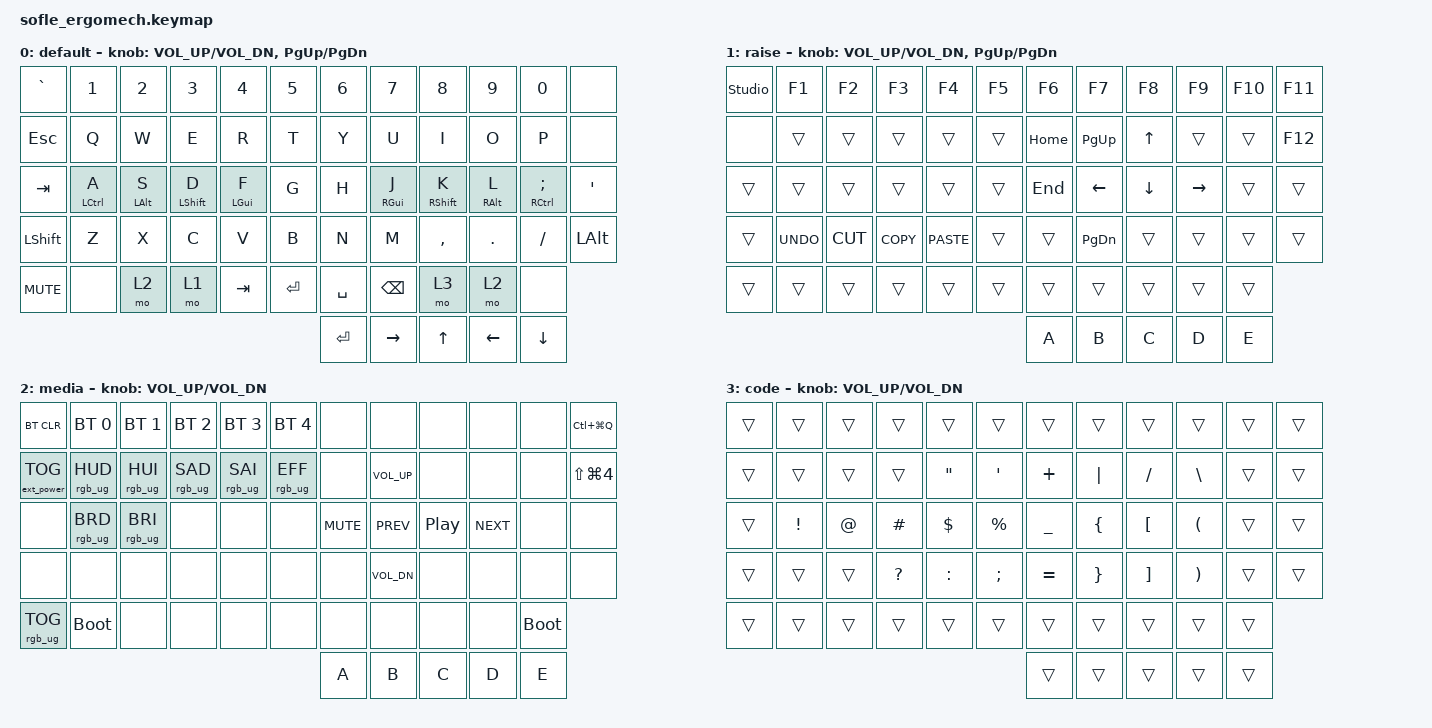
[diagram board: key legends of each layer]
/*
 * Copyright (c) 2020 The ZMK Contributors
 *
 * SPDX-License-Identifier: MIT
 */

#include <behaviors.dtsi>
#include <dt-bindings/zmk/bt.h>
#include <dt-bindings/zmk/ext_power.h>
#include <dt-bindings/zmk/keys.h>
#include <dt-bindings/zmk/rgb.h>

#define BASE 0
#define LOWER 1
#define RAISE 2
#define ADJUST 3

/ {
    // Activate ADJUST layer by pressing raise and lower

    conditional_layers {
        compatible = "zmk,conditional-layers";

        raise_layer {
            if-layers = <1 1>;
            then-layer = <1>;
        };

        media_layer {
            if-layers = <2>;
            then-layer = <2>;
        };

        code_layer {
            if-layers = <3>;
            then-layer = <3>;
        };
    };

    keymap {
        compatible = "zmk,keymap";

        default_layer {
            label = "default";

            // ------------------------------------------------------------------------------------------------------------
            // |   `   |  1  |  2  |  3   |  4   |  5   |                   |  6   |  7    |  8    |  9   |   0   |       |
            // |  ESC  |  Q  |  W  |  E   |  R   |  T   |                   |  Y   |  U    |  I    |  O   |   P   | BKSPC |
            // |  TAB  |  A  |  S  |  D   |  F   |  G   |                   |  H   |  J    |  K    |  L   |   ;   |   '   |
            // | SHIFT |  Z  |  X  |  C   |  V   |  B   |  MUTE  |  |       |  N   |  M    |  ,    |  .   |   /   | SHIFT |
            //               | GUI | ALT  | CTRL | LOWER|  ENTER |  | SPACE | RAISE| CTRL  | ALT   | GUI  |

            bindings = <
&kp GRAVE       &kp N1              &kp N2          &kp N3            &kp N4          &kp N5     &kp N6     &kp N7           &kp N8             &kp N9           &kp N0                  &none
&kp ESC         &kp Q               &kp W           &kp E             &kp R           &kp T      &kp Y      &kp U            &kp I              &kp O            &kp P                   &none
&kp TAB         &mt LEFT_CONTROL A  &mt LEFT_ALT S  &mt LEFT_SHIFT D  &mt LEFT_GUI F  &kp G      &kp H      &mt RIGHT_GUI J  &mt RIGHT_SHIFT K  &mt RIGHT_ALT L  &mt RIGHT_CONTROL SEMI  &kp SQT
&kp LEFT_SHIFT  &kp Z               &kp X           &kp C             &kp V           &kp B      &kp N      &kp M            &kp COMMA          &kp DOT          &kp FSLH                &kp LEFT_ALT
&kp C_MUTE      &none               &mo 2           &mo 1             &kp TAB         &kp ENTER  &kp SPACE  &kp BACKSPACE    &mo 3              &mo 2            &none
                                                                                                 &kp ENTER  &kp RIGHT        &kp UP_ARROW       &kp LEFT         &kp DOWN
            >;

            sensor-bindings = <&inc_dec_kp C_VOL_UP C_VOL_DN &inc_dec_kp PG_UP PG_DN>;
        };

        raise_layer {
            label = "raise";

            // ------------------------------------------------------------------------------------------------------------
            // | BTCLR | BT1  | BT2  |  BT3  |  BT4  |  BT5 |                |      |      |       |      |       |       |
            // |       | INS  | PSCR | GUI   |       |      |                | PGUP |      |   ^   |      |       |       |
            // |       | ALT  | CTRL | SHIFT |       | CAPS |                | PGDN |   <- |   v   |  ->  |  DEL  | BKSPC |
            // |       | UNDO | CUT  | COPY  | PASTE |      |      |  |      |      |      |       |      |       |       |
            //                |      |       |       |      |      |  |      |      |      |       |      |

            bindings = <
&studio_unlock  &kp F1      &kp F2     &kp F3      &kp F4       &kp F5  &kp F6    &kp F7         &kp F8    &kp F9     &kp F10  &kp F11
&none           &trans      &trans     &trans      &trans       &trans  &kp HOME  &kp PAGE_UP    &kp UP    &trans     &trans   &kp F12
&trans          &trans      &trans     &trans      &trans       &trans  &kp END   &kp LEFT       &kp DOWN  &kp RIGHT  &trans   &trans
&trans          &kp K_UNDO  &kp K_CUT  &kp K_COPY  &kp K_PASTE  &trans  &trans    &kp PAGE_DOWN  &trans    &trans     &trans   &trans
&trans          &trans      &trans     &trans      &trans       &trans  &trans    &trans         &trans    &trans     &trans
                                                                        &kp A     &kp B          &kp C     &kp D      &kp E
            >;

            sensor-bindings = <&inc_dec_kp C_VOL_UP C_VOL_DN &inc_dec_kp PG_UP PG_DN>;
        };

        media {
            // ----------------------------------------------------------------------------------------------------------------------------
            // | BTCLR  |  BT1    |  BT2    |   BT3   |   BT4   |   BT5   |                  |      |      |       |      |       |       |
            // | EXTPWR | RGB_HUD | RGB_HUI | RGB_SAD | RGB_SAI | RGB_EFF |                  |      |      |       |      |       |       |
            // |        | RGB_BRD | RGB_BRI |         |         |         |                  |      |      |       |      |       |       |
            // |        |         |         |         |         |         | RGB_TOG | |      |      |      |       |      |       |       |
            //                    |         |         |         |         |         | |      |      |      |       |      |

            label = "media";
            bindings = <
&bt BT_CLR         &bt BT_SEL 0     &bt BT_SEL 1     &bt BT_SEL 2     &bt BT_SEL 3     &bt BT_SEL 4     &none       &none         &none             &none       &none        &kp LC(LG(Q))
&ext_power EP_TOG  &rgb_ug RGB_HUD  &rgb_ug RGB_HUI  &rgb_ug RGB_SAD  &rgb_ug RGB_SAI  &rgb_ug RGB_EFF  &none       &kp C_VOL_UP  &none             &none       &none        &kp LS(LG(NUMBER_4))
&none              &rgb_ug RGB_BRD  &rgb_ug RGB_BRI  &none            &none            &none            &kp C_MUTE  &kp C_PREV    &kp C_PLAY_PAUSE  &kp C_NEXT  &none        &none
&none              &none            &none            &none            &none            &none            &none       &kp C_VOL_DN  &none             &none       &none        &none
&rgb_ug RGB_TOG    &bootloader      &none            &none            &none            &none            &none       &none         &none             &none       &bootloader
                                                                                                        &kp A       &kp B         &kp C             &kp D       &kp E
            >;

            sensor-bindings = <&inc_dec_kp C_VOL_UP C_VOL_DN>;
        };

        code {
            bindings = <
&trans  &trans    &trans  &trans     &trans     &trans     &trans     &trans    &trans    &trans    &trans  &trans
&trans  &trans    &trans  &trans     &kp DQT    &kp SQT    &kp PLUS   &kp PIPE  &kp FSLH  &kp BSLH  &trans  &trans
&trans  &kp EXCL  &kp AT  &kp HASH   &kp DLLR   &kp PRCNT  &kp UNDER  &kp LBRC  &kp LBKT  &kp LPAR  &trans  &trans
&trans  &trans    &trans  &kp QMARK  &kp COLON  &kp SEMI   &kp EQUAL  &kp RBRC  &kp RBKT  &kp RPAR  &trans  &trans
&trans  &trans    &trans  &trans     &trans     &trans     &trans     &trans    &trans    &trans    &trans
                                                           &trans     &trans    &trans    &trans    &trans
            >;

            label = "code";
            sensor-bindings = <&inc_dec_kp C_VOL_UP C_VOL_DN>;
        };
    };
};
